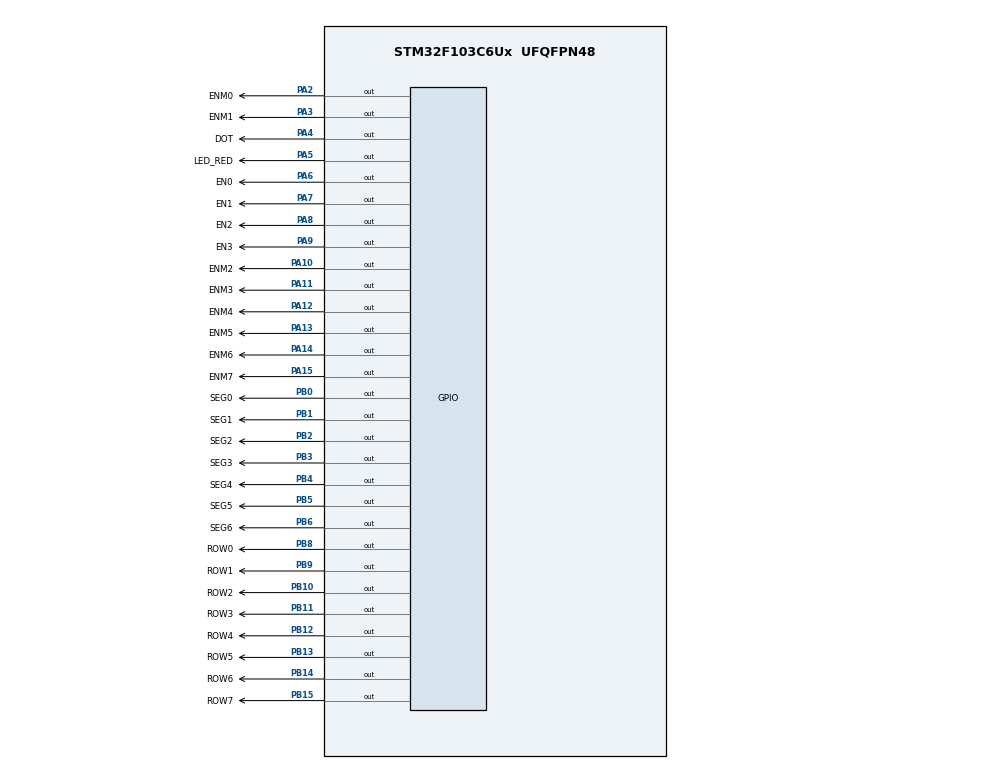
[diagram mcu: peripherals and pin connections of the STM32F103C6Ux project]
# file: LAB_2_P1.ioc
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Mcu.Family=STM32F1
Mcu.Name=STM32F103C6Ux
Mcu.Package=UFQFPN48
NVIC.PriorityGroup=NVIC_PRIORITYGROUP_4
NVIC.TIM2_IRQn=true\:0\:0\:false\:false\:true\:true\:true
PA10.GPIO_Label=ENM2
PA10.Signal=GPIO_Output
PA11.GPIO_Label=ENM3
PA11.Signal=GPIO_Output
PA12.GPIO_Label=ENM4
PA12.Signal=GPIO_Output
PA13.GPIO_Label=ENM5
PA13.Signal=GPIO_Output
PA14.GPIO_Label=ENM6
PA14.Signal=GPIO_Output
PA15.GPIO_Label=ENM7
PA15.Signal=GPIO_Output
PA2.GPIO_Label=ENM0
PA2.Signal=GPIO_Output
PA3.GPIO_Label=ENM1
PA3.Signal=GPIO_Output
PA4.GPIO_Label=DOT
PA4.Signal=GPIO_Output
PA5.GPIO_Label=LED_RED
PA5.Signal=GPIO_Output
PA6.GPIO_Label=EN0
PA6.Signal=GPIO_Output
PA7.GPIO_Label=EN1
PA7.Signal=GPIO_Output
PA8.GPIO_Label=EN2
PA8.Signal=GPIO_Output
PA9.GPIO_Label=EN3
PA9.Signal=GPIO_Output
PB0.GPIO_Label=SEG0
PB0.Signal=GPIO_Output
PB1.GPIO_Label=SEG1
PB1.Signal=GPIO_Output
PB10.GPIO_Label=ROW2
PB10.Signal=GPIO_Output
PB11.GPIO_Label=ROW3
PB11.Signal=GPIO_Output
PB12.GPIO_Label=ROW4
PB12.Signal=GPIO_Output
PB13.GPIO_Label=ROW5
PB13.Signal=GPIO_Output
PB14.GPIO_Label=ROW6
PB14.Signal=GPIO_Output
PB15.GPIO_Label=ROW7
PB15.Signal=GPIO_Output
PB2.GPIO_Label=SEG2
PB2.Signal=GPIO_Output
PB3.GPIO_Label=SEG3
PB3.Signal=GPIO_Output
PB4.GPIO_Label=SEG4
PB4.Signal=GPIO_Output
PB5.GPIO_Label=SEG5
PB5.Signal=GPIO_Output
PB6.GPIO_Label=SEG6
PB6.Signal=GPIO_Output
PB8.GPIO_Label=ROW0
PB8.Signal=GPIO_Output
PB9.GPIO_Label=ROW1
PB9.Signal=GPIO_Output
ProjectManager.HeapSize=0x200
ProjectManager.StackSize=0x400
ProjectManager.TargetToolchain=STM32CubeIDE
RCC.APB1Freq_Value=8000000
RCC.APB2Freq_Value=8000000
TIM2.Period=9
TIM2.Prescaler=7999
VP_SYS_VS_ND.Mode=No_Debug
VP_TIM2_VS_ClockSourceINT.Mode=Internal
board=custom

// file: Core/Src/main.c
/* USER CODE BEGIN Header */
/**
  ******************************************************************************
  * @file           : main.c
  * @brief          : Main program body
  ******************************************************************************
  * @attention
  *
  * <h2><center>&copy; Copyright (c) 2024 STMicroelectronics.
  * All rights reserved.</center></h2>
  *
  * This software component is licensed by ST under BSD 3-Clause license,
  * the "License"; You may not use this file except in compliance with the
  * License. You may obtain a copy of the License at:
  *                        opensource.org/licenses/BSD-3-Clause
  *
  ******************************************************************************
  */
/* USER CODE END Header */
#include "main.h"

/* USER CODE BEGIN Includes */
#include "softwareTimer.h"
/* USER CODE END Includes */

TIM_HandleTypeDef htim2;

/* USER CODE BEGIN PV */
int hour = 1, minute = 8, second = 50;
const int MAX_LED = 4;
int index_led = 0;
int led_buffer [4] = {1, 2, 3, 4};
const int MAX_LED_MATRIX = 8;
int index_led_matrix = 0;
uint8_t matrix_buffer[8] = {0b00000000, 0b11111100, 0b00010010, 0b00010001, 0b00010001, 0b00010010, 0b11111100, 0b00000000};

/* USER CODE END PV */

void SystemClock_Config(void);
static void MX_GPIO_Init(void);
static void MX_TIM2_Init(void);
/* USER CODE BEGIN PFP */
void display7SEG(int counter);
void update7SEG(int index);
void uprateClockBuffer();
void resetMatrixState();
void displayMatrix(uint8_t num);
void uprateLedMatrix(int index);
void uprateMatrixBuffer();

/* USER CODE END PFP */

int main(void)
{

  /* MCU Configuration--------------------------------------------------------*/

  /* Reset of all peripherals, Initializes the Flash interface and the Systick. */
  HAL_Init();

  /* Configure the system clock */
  SystemClock_Config();

  /* Initialize all configured peripherals */
  MX_GPIO_Init();
  MX_TIM2_Init();
  /* USER CODE BEGIN 2 */
  HAL_TIM_Base_Start_IT(&htim2);
  /* USER CODE END 2 */

  /* Infinite loop */
  /* USER CODE BEGIN WHILE */

  setTimer0(1000);
  setTimer1(1000);
  setTimer2(1000);
  setTimer3(10);
  while (1)
  {
	 if(getFlag0()){
		 HAL_GPIO_TogglePin(DOT_GPIO_Port, DOT_Pin);
		 HAL_GPIO_TogglePin(LED_RED_GPIO_Port, LED_RED_Pin);
		 setTimer0(1000);
	 }

	 if(getFlag1()){
		 if(index_led >= MAX_LED){
			 index_led = 0;
		 }
		 update7SEG(index_led++);
		 setTimer1(250);
	 }

	 if(getFlag2()){
		 uprateClockBuffer();
		 uprateMatrixBuffer();
		 setTimer2(1000);
	 }

	 if(getFlag3()){
		 if(index_led_matrix >= MAX_LED_MATRIX){
		 		index_led_matrix = 0;
		 }
		 uprateLedMatrix(index_led_matrix++);
		 setTimer3(10);
	 }

    /* USER CODE END WHILE */

  }
}

void SystemClock_Config(void)
{
  RCC_OscInitTypeDef RCC_OscInitStruct = {0};
  RCC_ClkInitTypeDef RCC_ClkInitStruct = {0};

  /** Initializes the RCC Oscillators according to the specified parameters
  * in the RCC_OscInitTypeDef structure.
  */
  RCC_OscInitStruct.OscillatorType = RCC_OSCILLATORTYPE_HSI;
  RCC_OscInitStruct.HSIState = RCC_HSI_ON;
  RCC_OscInitStruct.HSICalibrationValue = RCC_HSICALIBRATION_DEFAULT;
  RCC_OscInitStruct.PLL.PLLState = RCC_PLL_NONE;
  if (HAL_RCC_OscConfig(&RCC_OscInitStruct) != HAL_OK)
  {
    Error_Handler();
  }
  /** Initializes the CPU, AHB and APB buses clocks
  */
  RCC_ClkInitStruct.ClockType = RCC_CLOCKTYPE_HCLK|RCC_CLOCKTYPE_SYSCLK
                              |RCC_CLOCKTYPE_PCLK1|RCC_CLOCKTYPE_PCLK2;
  RCC_ClkInitStruct.SYSCLKSource = RCC_SYSCLKSOURCE_HSI;
  RCC_ClkInitStruct.AHBCLKDivider = RCC_SYSCLK_DIV1;
  RCC_ClkInitStruct.APB1CLKDivider = RCC_HCLK_DIV1;
  RCC_ClkInitStruct.APB2CLKDivider = RCC_HCLK_DIV1;

  if (HAL_RCC_ClockConfig(&RCC_ClkInitStruct, FLASH_LATENCY_0) != HAL_OK)
  {
    Error_Handler();
  }
}

static void MX_TIM2_Init(void)
{

  TIM_ClockConfigTypeDef sClockSourceConfig = {0};
  TIM_MasterConfigTypeDef sMasterConfig = {0};

  htim2.Instance = TIM2;
  htim2.Init.Prescaler = 7999;
  htim2.Init.CounterMode = TIM_COUNTERMODE_UP;
  htim2.Init.Period = 9;
  htim2.Init.ClockDivision = TIM_CLOCKDIVISION_DIV1;
  htim2.Init.AutoReloadPreload = TIM_AUTORELOAD_PRELOAD_DISABLE;
  if (HAL_TIM_Base_Init(&htim2) != HAL_OK)
  {
    Error_Handler();
  }
  sClockSourceConfig.ClockSource = TIM_CLOCKSOURCE_INTERNAL;
  if (HAL_TIM_ConfigClockSource(&htim2, &sClockSourceConfig) != HAL_OK)
  {
    Error_Handler();
  }
  sMasterConfig.MasterOutputTrigger = TIM_TRGO_RESET;
  sMasterConfig.MasterSlaveMode = TIM_MASTERSLAVEMODE_DISABLE;
  if (HAL_TIMEx_MasterConfigSynchronization(&htim2, &sMasterConfig) != HAL_OK)
  {
    Error_Handler();
  }

}

static void MX_GPIO_Init(void)
{
  GPIO_InitTypeDef GPIO_InitStruct = {0};

  /* GPIO Ports Clock Enable */
  __HAL_RCC_GPIOA_CLK_ENABLE();
  __HAL_RCC_GPIOB_CLK_ENABLE();

  /*Configure GPIO pin Output Level */
  HAL_GPIO_WritePin(GPIOA, ENM0_Pin|ENM1_Pin|DOT_Pin|LED_RED_Pin
                          |EN0_Pin|EN1_Pin|EN2_Pin|EN3_Pin
                          |ENM2_Pin|ENM3_Pin|ENM4_Pin|ENM5_Pin
                          |ENM6_Pin|ENM7_Pin, GPIO_PIN_RESET);

  /*Configure GPIO pin Output Level */
  HAL_GPIO_WritePin(GPIOB, SEG0_Pin|SEG1_Pin|SEG2_Pin|ROW2_Pin
                          |ROW3_Pin|ROW4_Pin|ROW5_Pin|ROW6_Pin
                          |ROW7_Pin|SEG3_Pin|SEG4_Pin|SEG5_Pin
                          |SEG6_Pin|ROW0_Pin|ROW1_Pin, GPIO_PIN_RESET);

  /*Configure GPIO pins : ENM0_Pin ENM1_Pin DOT_Pin LED_RED_Pin
                           EN0_Pin EN1_Pin EN2_Pin EN3_Pin
                           ENM2_Pin ENM3_Pin ENM4_Pin ENM5_Pin
                           ENM6_Pin ENM7_Pin */
  GPIO_InitStruct.Pin = ENM0_Pin|ENM1_Pin|DOT_Pin|LED_RED_Pin
                          |EN0_Pin|EN1_Pin|EN2_Pin|EN3_Pin
                          |ENM2_Pin|ENM3_Pin|ENM4_Pin|ENM5_Pin
                          |ENM6_Pin|ENM7_Pin;
  GPIO_InitStruct.Mode = GPIO_MODE_OUTPUT_PP;
  GPIO_InitStruct.Pull = GPIO_NOPULL;
  GPIO_InitStruct.Speed = GPIO_SPEED_FREQ_LOW;
  HAL_GPIO_Init(GPIOA, &GPIO_InitStruct);

  /*Configure GPIO pins : SEG0_Pin SEG1_Pin SEG2_Pin ROW2_Pin
                           ROW3_Pin ROW4_Pin ROW5_Pin ROW6_Pin
                           ROW7_Pin SEG3_Pin SEG4_Pin SEG5_Pin
                           SEG6_Pin ROW0_Pin ROW1_Pin */
  GPIO_InitStruct.Pin = SEG0_Pin|SEG1_Pin|SEG2_Pin|ROW2_Pin
                          |ROW3_Pin|ROW4_Pin|ROW5_Pin|ROW6_Pin
                          |ROW7_Pin|SEG3_Pin|SEG4_Pin|SEG5_Pin
                          |SEG6_Pin|ROW0_Pin|ROW1_Pin;
  GPIO_InitStruct.Mode = GPIO_MODE_OUTPUT_PP;
  GPIO_InitStruct.Pull = GPIO_NOPULL;
  GPIO_InitStruct.Speed = GPIO_SPEED_FREQ_LOW;
  HAL_GPIO_Init(GPIOB, &GPIO_InitStruct);

}

/* USER CODE BEGIN 4 */

 void HAL_TIM_PeriodElapsedCallback(TIM_HandleTypeDef *htim){
	 timer_run();
 }

 void display7SEG(int counter){
	  switch(counter){
	  	  case 0:
	  		HAL_GPIO_WritePin(SEG0_GPIO_Port, SEG0_Pin, RESET);
	  		HAL_GPIO_WritePin(SEG1_GPIO_Port, SEG1_Pin, RESET);
	  		HAL_GPIO_WritePin(SEG2_GPIO_Port, SEG2_Pin, RESET);
	  		HAL_GPIO_WritePin(SEG3_GPIO_Port, SEG3_Pin, RESET);
	  	    HAL_GPIO_WritePin(SEG4_GPIO_Port, SEG4_Pin, RESET);
	  		HAL_GPIO_WritePin(SEG5_GPIO_Port, SEG5_Pin, RESET);
	  		HAL_GPIO_WritePin(SEG6_GPIO_Port, SEG6_Pin, SET);
	  		  break;
	  	  case 1:
	  		  	  	  	HAL_GPIO_WritePin(SEG0_GPIO_Port, SEG0_Pin, SET);
	  			  		HAL_GPIO_WritePin(SEG1_GPIO_Port, SEG1_Pin, RESET);
	  			  		HAL_GPIO_WritePin(SEG2_GPIO_Port, SEG2_Pin, RESET);
	  			  		HAL_GPIO_WritePin(SEG3_GPIO_Port, SEG3_Pin, SET);
	  			  	    HAL_GPIO_WritePin(SEG4_GPIO_Port, SEG4_Pin, SET);
	  			  		HAL_GPIO_WritePin(SEG5_GPIO_Port, SEG5_Pin, SET);
	  			  		HAL_GPIO_WritePin(SEG6_GPIO_Port, SEG6_Pin, SET);
	  		  break;
	  	  case 2:
	  		  	  	  	HAL_GPIO_WritePin(SEG0_GPIO_Port, SEG0_Pin, RESET);
	  			  		HAL_GPIO_WritePin(SEG1_GPIO_Port, SEG1_Pin, RESET);
	  			  		HAL_GPIO_WritePin(SEG2_GPIO_Port, SEG2_Pin, SET);
	  			  		HAL_GPIO_WritePin(SEG3_GPIO_Port, SEG3_Pin, RESET);
	  			  	    HAL_GPIO_WritePin(SEG4_GPIO_Port, SEG4_Pin, RESET);
	  			  		HAL_GPIO_WritePin(SEG5_GPIO_Port, SEG5_Pin, SET);
	  			  		HAL_GPIO_WritePin(SEG6_GPIO_Port, SEG6_Pin, RESET);
	  		  break;
	  	  case 3:
	  		  	  	  	HAL_GPIO_WritePin(SEG0_GPIO_Port, SEG0_Pin,RESET);
	  			  		HAL_GPIO_WritePin(SEG1_GPIO_Port, SEG1_Pin, RESET);
	  			  		HAL_GPIO_WritePin(SEG2_GPIO_Port, SEG2_Pin, RESET);
	  			  		HAL_GPIO_WritePin(SEG3_GPIO_Port, SEG3_Pin, RESET);
	  			  	    HAL_GPIO_WritePin(SEG4_GPIO_Port, SEG4_Pin, SET);
	  			  		HAL_GPIO_WritePin(SEG5_GPIO_Port, SEG5_Pin, SET);
	  			  		HAL_GPIO_WritePin(SEG6_GPIO_Port, SEG6_Pin, RESET);
	  		  break;
	  	  case 4:
	  		  	  	  	HAL_GPIO_WritePin(SEG0_GPIO_Port, SEG0_Pin, SET);
	  			  		HAL_GPIO_WritePin(SEG1_GPIO_Port, SEG1_Pin, RESET);
	  			  		HAL_GPIO_WritePin(SEG2_GPIO_Port, SEG2_Pin, RESET);
	  			  		HAL_GPIO_WritePin(SEG3_GPIO_Port, SEG3_Pin, SET);
	  			  	    HAL_GPIO_WritePin(SEG4_GPIO_Port, SEG4_Pin, SET);
	  			  		HAL_GPIO_WritePin(SEG5_GPIO_Port, SEG5_Pin, RESET);
	  			  		HAL_GPIO_WritePin(SEG6_GPIO_Port, SEG6_Pin, RESET);
	  		  break;
	  	  case 5:
	  		  	  	  	HAL_GPIO_WritePin(SEG0_GPIO_Port, SEG0_Pin, RESET);
	  			  		HAL_GPIO_WritePin(SEG1_GPIO_Port, SEG1_Pin, SET);
	  			  		HAL_GPIO_WritePin(SEG2_GPIO_Port, SEG2_Pin, RESET);
	  			  		HAL_GPIO_WritePin(SEG3_GPIO_Port, SEG3_Pin, RESET);
	  			  	    HAL_GPIO_WritePin(SEG4_GPIO_Port, SEG4_Pin, SET);
	  			  		HAL_GPIO_WritePin(SEG5_GPIO_Port, SEG5_Pin, RESET);
	  			  		HAL_GPIO_WritePin(SEG6_GPIO_Port, SEG6_Pin, RESET);
	  		  break;
	  	  case 6:
	  		  	  	  	HAL_GPIO_WritePin(SEG0_GPIO_Port, SEG0_Pin, RESET);
	  					HAL_GPIO_WritePin(SEG1_GPIO_Port, SEG1_Pin, SET);
	  			  		HAL_GPIO_WritePin(SEG2_GPIO_Port, SEG2_Pin, RESET);
	  			  		HAL_GPIO_WritePin(SEG3_GPIO_Port, SEG3_Pin, RESET);
	  			  	    HAL_GPIO_WritePin(SEG4_GPIO_Port, SEG4_Pin, RESET);
	  			  		HAL_GPIO_WritePin(SEG5_GPIO_Port, SEG5_Pin, RESET);
	  			  		HAL_GPIO_WritePin(SEG6_GPIO_Port, SEG6_Pin, RESET);
	  		  break;
	  	  case 7:
	  		  	  	  	HAL_GPIO_WritePin(SEG0_GPIO_Port, SEG0_Pin, RESET);
	  			  		HAL_GPIO_WritePin(SEG1_GPIO_Port, SEG1_Pin, RESET);
	  			  		HAL_GPIO_WritePin(SEG2_GPIO_Port, SEG2_Pin, RESET);
	  			  		HAL_GPIO_WritePin(SEG3_GPIO_Port, SEG3_Pin, SET);
	  			  	    HAL_GPIO_WritePin(SEG4_GPIO_Port, SEG4_Pin, SET);
	  			  		HAL_GPIO_WritePin(SEG5_GPIO_Port, SEG5_Pin, SET);
	  			  		HAL_GPIO_WritePin(SEG6_GPIO_Port, SEG6_Pin, SET);
	  		  break;
	  	  case 8:
	  		  	  	  	HAL_GPIO_WritePin(SEG0_GPIO_Port, SEG0_Pin, RESET);
	  			  		HAL_GPIO_WritePin(SEG1_GPIO_Port, SEG1_Pin, RESET);
	  			  		HAL_GPIO_WritePin(SEG2_GPIO_Port, SEG2_Pin, RESET);
	  			  		HAL_GPIO_WritePin(SEG3_GPIO_Port, SEG3_Pin, RESET);
	  			  	    HAL_GPIO_WritePin(SEG4_GPIO_Port, SEG4_Pin, RESET);
	  			  		HAL_GPIO_WritePin(SEG5_GPIO_Port, SEG5_Pin, RESET);
	  			  		HAL_GPIO_WritePin(SEG6_GPIO_Port, SEG6_Pin, RESET);
	  		  break;
	  	  case 9:
	  		  	  	  	HAL_GPIO_WritePin(SEG0_GPIO_Port, SEG0_Pin, RESET);
	  			  		HAL_GPIO_WritePin(SEG1_GPIO_Port, SEG1_Pin, RESET);
	  			  		HAL_GPIO_WritePin(SEG2_GPIO_Port, SEG2_Pin, RESET);
	  			  		HAL_GPIO_WritePin(SEG3_GPIO_Port, SEG3_Pin, RESET);
	  			  	    HAL_GPIO_WritePin(SEG4_GPIO_Port, SEG4_Pin, SET);
	  			  		HAL_GPIO_WritePin(SEG5_GPIO_Port, SEG5_Pin, RESET);
	  			  		HAL_GPIO_WritePin(SEG6_GPIO_Port, SEG6_Pin, RESET);
	  		  break;
	  	  default:
	  		  	  	  	break;

	  }
  }

void update7SEG (int index){
switch (index) {
        case 0:
            HAL_GPIO_WritePin(EN0_GPIO_Port, EN0_Pin, RESET);
            HAL_GPIO_WritePin(EN1_GPIO_Port, EN1_Pin, SET);
            HAL_GPIO_WritePin(EN2_GPIO_Port, EN2_Pin, SET);
            HAL_GPIO_WritePin(EN3_GPIO_Port, EN3_Pin, SET);
            display7SEG(led_buffer[index]);
            break;
        case 1:
            HAL_GPIO_WritePin(EN0_GPIO_Port, EN0_Pin, SET);
            HAL_GPIO_WritePin(EN1_GPIO_Port, EN1_Pin, RESET);
            HAL_GPIO_WritePin(EN2_GPIO_Port, EN2_Pin, SET);
            HAL_GPIO_WritePin(EN3_GPIO_Port, EN3_Pin, SET);
            display7SEG(led_buffer[index]);
            break;
        case 2:
            HAL_GPIO_WritePin(EN0_GPIO_Port, EN0_Pin, SET);
            HAL_GPIO_WritePin(EN1_GPIO_Port, EN1_Pin, SET);
            HAL_GPIO_WritePin(EN2_GPIO_Port, EN2_Pin, RESET);
            HAL_GPIO_WritePin(EN3_GPIO_Port, EN3_Pin, SET);
            display7SEG(led_buffer[index]);
            break;
        case 3:
            HAL_GPIO_WritePin(EN0_GPIO_Port, EN0_Pin, SET);
            HAL_GPIO_WritePin(EN1_GPIO_Port, EN1_Pin, SET);
            HAL_GPIO_WritePin(EN2_GPIO_Port, EN2_Pin, SET);
            HAL_GPIO_WritePin(EN3_GPIO_Port, EN3_Pin, RESET);
            display7SEG(led_buffer[index]);
            break;
        default:
            break;
    }
}

void uprateClockBuffer(){
	second++;
	if(second >= 60){
		second = 0;
		minute++;
	}
	if(minute >= 60){
		minute = 0;
		hour++;
	}
	if(hour >= 24){
		hour = 0;
	}

	led_buffer[0] = hour / 10;
	led_buffer[1] = hour % 10;
	led_buffer[2] = minute / 10;
	led_buffer[3] = minute % 10;
}
void resetMatrixState(){
	HAL_GPIO_WritePin(ENM0_GPIO_Port, ENM0_Pin, SET);
	HAL_GPIO_WritePin(ENM1_GPIO_Port, ENM1_Pin, SET);
	HAL_GPIO_WritePin(ENM2_GPIO_Port, ENM2_Pin, SET);
	HAL_GPIO_WritePin(ENM3_GPIO_Port, ENM3_Pin, SET);
	HAL_GPIO_WritePin(ENM4_GPIO_Port, ENM4_Pin, SET);
	HAL_GPIO_WritePin(ENM5_GPIO_Port, ENM5_Pin, SET);
	HAL_GPIO_WritePin(ENM6_GPIO_Port, ENM6_Pin, SET);
	HAL_GPIO_WritePin(ENM7_GPIO_Port, ENM7_Pin, SET);
}

void displayMatrix(uint8_t num){
	if(num & (1U << 0)){
		HAL_GPIO_WritePin(ROW0_GPIO_Port, ROW0_Pin, RESET);
	}
	else{
		HAL_GPIO_WritePin(ROW0_GPIO_Port, ROW0_Pin, SET);
	}

	if(num & (1U << 1)){
			HAL_GPIO_WritePin(ROW1_GPIO_Port, ROW1_Pin, RESET);
	}
	else{
			HAL_GPIO_WritePin(ROW1_GPIO_Port, ROW1_Pin, SET);
	}

	if(num & (1U << 2)){
			HAL_GPIO_WritePin(ROW2_GPIO_Port, ROW2_Pin, RESET);
		}
	else{
			HAL_GPIO_WritePin(ROW2_GPIO_Port, ROW2_Pin, SET);
	}
	if(num & (1U << 3)){
			HAL_GPIO_WritePin(ROW3_GPIO_Port, ROW3_Pin, RESET);
	}
	else{
			HAL_GPIO_WritePin(ROW3_GPIO_Port, ROW3_Pin, SET);
	}

	if(num & (1U << 4)){
			HAL_GPIO_WritePin(ROW4_GPIO_Port, ROW4_Pin, RESET);
	}
	else{
			HAL_GPIO_WritePin(ROW4_GPIO_Port, ROW4_Pin, SET);
	}

	if(num & (1U << 5)){
			HAL_GPIO_WritePin(ROW5_GPIO_Port, ROW5_Pin, RESET);
	}
	else{
			HAL_GPIO_WritePin(ROW5_GPIO_Port, ROW5_Pin, SET);
	}
	if(num & (1U << 6)){
			HAL_GPIO_WritePin(ROW6_GPIO_Port, ROW6_Pin, RESET);
	}
	else{
			HAL_GPIO_WritePin(ROW6_GPIO_Port, ROW6_Pin, SET);
	}
	if(num & (1U << 7)){
			HAL_GPIO_WritePin(ROW7_GPIO_Port, ROW7_Pin, RESET);
	}
	else{
			HAL_GPIO_WritePin(ROW7_GPIO_Port, ROW7_Pin, SET);
	}
}

void uprateLedMatrix(int index){
	resetMatrixState();
	switch(index){
		case 0:
			HAL_GPIO_WritePin(ENM0_GPIO_Port, ENM0_Pin, RESET);
			displayMatrix(matrix_buffer[index]);
			break;
		case 1:
			HAL_GPIO_WritePin(ENM1_GPIO_Port, ENM1_Pin, RESET);
			displayMatrix(matrix_buffer[index]);
			break;
		case 2:
			HAL_GPIO_WritePin(ENM2_GPIO_Port, ENM2_Pin, RESET);
			displayMatrix(matrix_buffer[index]);
			break;
		case 3:
			HAL_GPIO_WritePin(ENM3_GPIO_Port, ENM3_Pin, RESET);
			displayMatrix(matrix_buffer[index]);
			break;
		case 4:
			HAL_GPIO_WritePin(ENM4_GPIO_Port, ENM4_Pin, RESET);
			displayMatrix(matrix_buffer[index]);
			break;
		case 5:
			HAL_GPIO_WritePin(ENM5_GPIO_Port, ENM5_Pin, RESET);
			displayMatrix(matrix_buffer[index]);
			break;
		case 6:
			HAL_GPIO_WritePin(ENM6_GPIO_Port, ENM6_Pin, RESET);
			displayMatrix(matrix_buffer[index]);
			break;
		case 7:
			HAL_GPIO_WritePin(ENM7_GPIO_Port, ENM7_Pin, RESET);
			displayMatrix(matrix_buffer[index]);
			break;
		default:
			break;
	}
}

void uprateMatrixBuffer()
{
	uint8_t temp = matrix_buffer[0];
	matrix_buffer[0] = matrix_buffer[1];
	matrix_buffer[1] = matrix_buffer[2];
	matrix_buffer[2] = matrix_buffer[3];
	matrix_buffer[3] = matrix_buffer[4];
	matrix_buffer[4] = matrix_buffer[5];
	matrix_buffer[5] = matrix_buffer[6];
	matrix_buffer[6] = matrix_buffer[7];
	matrix_buffer[7] = temp;
}

/* USER CODE END 4 */

void Error_Handler(void)
{
  __disable_irq();
  while (1)
  {
  }
}

/************************ (C) COPYRIGHT STMicroelectronics *****END OF FILE****/
